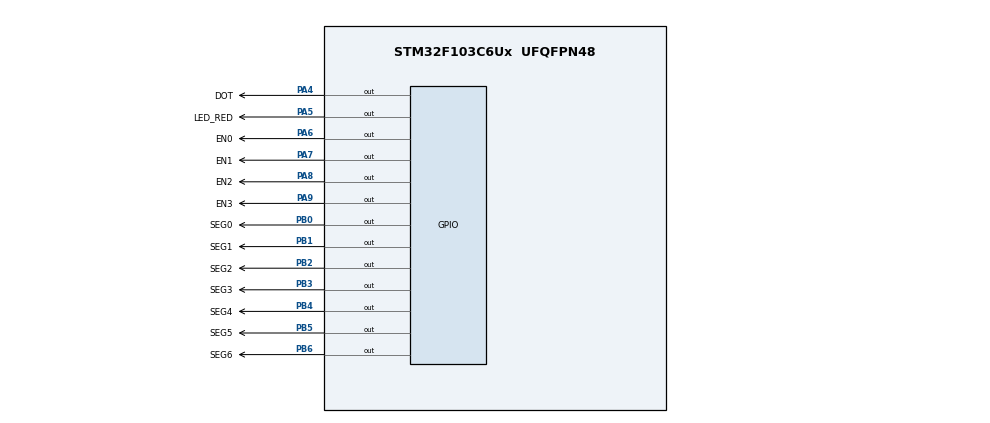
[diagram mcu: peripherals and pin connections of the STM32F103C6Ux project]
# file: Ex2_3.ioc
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Mcu.Family=STM32F1
Mcu.Name=STM32F103C6Ux
Mcu.Package=UFQFPN48
NVIC.PriorityGroup=NVIC_PRIORITYGROUP_4
NVIC.TIM2_IRQn=true\:0\:0\:false\:false\:true\:true\:true\:true
PA13.Mode=Serial_Wire
PA13.Signal=SYS_JTMS-SWDIO
PA14.Mode=Serial_Wire
PA14.Signal=SYS_JTCK-SWCLK
PA4.GPIO_Label=DOT
PA4.Signal=GPIO_Output
PA5.GPIO_Label=LED_RED
PA5.Signal=GPIO_Output
PA6.GPIO_Label=EN0
PA6.Signal=GPIO_Output
PA7.GPIO_Label=EN1
PA7.Signal=GPIO_Output
PA8.GPIO_Label=EN2
PA8.Signal=GPIO_Output
PA9.GPIO_Label=EN3
PA9.Signal=GPIO_Output
PB0.GPIO_Label=SEG0
PB0.Signal=GPIO_Output
PB1.GPIO_Label=SEG1
PB1.Signal=GPIO_Output
PB2.GPIO_Label=SEG2
PB2.Signal=GPIO_Output
PB3.GPIO_Label=SEG3
PB3.Signal=GPIO_Output
PB4.GPIO_Label=SEG4
PB4.Signal=GPIO_Output
PB5.GPIO_Label=SEG5
PB5.Signal=GPIO_Output
PB6.GPIO_Label=SEG6
PB6.Signal=GPIO_Output
ProjectManager.HeapSize=0x200
ProjectManager.StackSize=0x400
ProjectManager.TargetToolchain=STM32CubeIDE
RCC.APB1Freq_Value=8000000
RCC.APB2Freq_Value=8000000
TIM2.Period=9
TIM2.Prescaler=7999
VP_TIM2_VS_ClockSourceINT.Mode=Internal
board=custom

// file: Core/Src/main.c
/* USER CODE BEGIN Header */
/**
  ******************************************************************************
  * @file           : main.c
  * @brief          : Main program body
  ******************************************************************************
  * @attention
  *
  * Copyright (c) 2024 STMicroelectronics.
  * All rights reserved.
  *
  * This software is licensed under terms that can be found in the LICENSE file
  * in the root directory of this software component.
  * If no LICENSE file comes with this software, it is provided AS-IS.
  *
  ******************************************************************************
  */
/* USER CODE END Header */
#include <Ex2_3.h>
#include "main.h"

/* USER CODE BEGIN Includes */
#include "global.h"
/* USER CODE END Includes */

TIM_HandleTypeDef htim2;

void SystemClock_Config(void);
static void MX_GPIO_Init(void);
static void MX_TIM2_Init(void);

/* USER CODE BEGIN 0 */
int timer0_counter = 0;
int timer0_flag = 0;

int timer1_counter = 0;
int timer1_flag = 0;

int timer2_counter = 0;
int timer2_flag = 0;

int TIMER_CYCLE = 10;
void setTimer0(int duration){
	timer0_counter = duration / TIMER_CYCLE;
	timer0_flag = 0;
}
void setTimer1(int duration) {
	timer1_counter = duration / TIMER_CYCLE;
	timer1_flag = 0;
}

void setTimer2 (int duration){
	timer2_counter = duration / TIMER_CYCLE;
	timer2_flag = 0;
}
void timerRun(){
	if(timer0_counter > 0) timer0_counter--;
	if(timer0_counter == 0) timer0_flag = 1;

	if (timer1_counter > 0) timer1_counter--;
	if (timer1_counter == 0) timer1_flag = 1;

	if (timer2_counter > 0) timer2_counter--;
	if (timer2_counter == 0) timer2_flag = 1;

}
/* USER CODE END 0 */

int main(void)
{

  /* MCU Configuration--------------------------------------------------------*/

  /* Reset of all peripherals, Initializes the Flash interface and the Systick. */
  HAL_Init();

  /* Configure the system clock */
  SystemClock_Config();

  /* Initialize all configured peripherals */
  MX_GPIO_Init();
  MX_TIM2_Init();
  /* USER CODE BEGIN 2 */
  HAL_TIM_Base_Start_IT(&htim2);
  /* USER CODE END 2 */

  /* Infinite loop */
  /* USER CODE BEGIN WHILE */
int index_led = 0;;
setTimer0(500);
setTimer1(500);
  while (1)
  {
    /* USER CODE END WHILE */

    /* USER CODE BEGIN 3 */
//	  if (timer0_flag == 1) {
//		   switch (status) {
//			   case 1:
//				   HAL_GPIO_WritePin(EN0_GPIO_Port, EN0_Pin, GPIO_PIN_RESET);
//				   HAL_GPIO_WritePin(EN1_GPIO_Port, EN1_Pin, GPIO_PIN_SET);
//				   HAL_GPIO_WritePin(EN2_GPIO_Port, EN2_Pin, GPIO_PIN_SET);
//				   HAL_GPIO_WritePin(EN3_GPIO_Port, EN3_Pin, GPIO_PIN_SET);
//				   display7SEG(1);
//				   break;
//			   case 2:
//				   HAL_GPIO_WritePin(EN0_GPIO_Port, EN0_Pin, GPIO_PIN_SET);
//				   HAL_GPIO_WritePin(EN1_GPIO_Port, EN1_Pin, GPIO_PIN_RESET);
//				   HAL_GPIO_WritePin(EN2_GPIO_Port, EN2_Pin, GPIO_PIN_SET);
//				   HAL_GPIO_WritePin(EN3_GPIO_Port, EN3_Pin, GPIO_PIN_SET);
//				   display7SEG(2);
//				   break;
//			   case 3:
//				   HAL_GPIO_WritePin(EN0_GPIO_Port, EN0_Pin, GPIO_PIN_SET);
//				   HAL_GPIO_WritePin(EN1_GPIO_Port, EN1_Pin, GPIO_PIN_SET);
//				   HAL_GPIO_WritePin(EN2_GPIO_Port, EN2_Pin, GPIO_PIN_RESET);
//				   HAL_GPIO_WritePin(EN3_GPIO_Port, EN3_Pin, GPIO_PIN_SET);
//				   display7SEG(3);
//				   break;
//			   case 4:
//				   HAL_GPIO_WritePin(EN0_GPIO_Port, EN0_Pin, GPIO_PIN_SET);
//				   HAL_GPIO_WritePin(EN1_GPIO_Port, EN1_Pin, GPIO_PIN_SET);
//				   HAL_GPIO_WritePin(EN2_GPIO_Port, EN2_Pin, GPIO_PIN_SET);
//				   HAL_GPIO_WritePin(EN3_GPIO_Port, EN3_Pin, GPIO_PIN_RESET);
//				   display7SEG(0);
//				   break;
//			   default:
//				   break;
//		   }
//		   status++;
//		   if (status > 4)status = 1;
//		   setTimer0(2000);
//	  }

	  if (timer0_flag == 1) {
		  timer0_flag = 0;
		  setTimer0(250);
//		  second++;
		  if (second >= 60) {
			  second = 0;
			  minute++;
		  }
		  if (minute >= 60) {
			  minute = 0;
			  hour++;
		  }
		  if (hour >= 24) {
			  hour = 0;
		  }
		  update7SEG(index_led++);
		  if (index_led > 3) index_led = 0;
		  updateClockBuffer();
	  }

	  if (timer2_flag == 1) {
		  timer2_flag = 0;
		  setTimer2(1000);
		  second++;
	  }

	  if (timer1_flag == 1) {
		  timer1_flag = 0;
		  setTimer1(500);
		  HAL_GPIO_TogglePin(GPIOA, GPIO_PIN_4);
	  }
  }
  /* USER CODE END 3 */
}

void SystemClock_Config(void)
{
  RCC_OscInitTypeDef RCC_OscInitStruct = {0};
  RCC_ClkInitTypeDef RCC_ClkInitStruct = {0};

  /** Initializes the RCC Oscillators according to the specified parameters
  * in the RCC_OscInitTypeDef structure.
  */
  RCC_OscInitStruct.OscillatorType = RCC_OSCILLATORTYPE_HSI;
  RCC_OscInitStruct.HSIState = RCC_HSI_ON;
  RCC_OscInitStruct.HSICalibrationValue = RCC_HSICALIBRATION_DEFAULT;
  RCC_OscInitStruct.PLL.PLLState = RCC_PLL_NONE;
  if (HAL_RCC_OscConfig(&RCC_OscInitStruct) != HAL_OK)
  {
    Error_Handler();
  }

  /** Initializes the CPU, AHB and APB buses clocks
  */
  RCC_ClkInitStruct.ClockType = RCC_CLOCKTYPE_HCLK|RCC_CLOCKTYPE_SYSCLK
                              |RCC_CLOCKTYPE_PCLK1|RCC_CLOCKTYPE_PCLK2;
  RCC_ClkInitStruct.SYSCLKSource = RCC_SYSCLKSOURCE_HSI;
  RCC_ClkInitStruct.AHBCLKDivider = RCC_SYSCLK_DIV1;
  RCC_ClkInitStruct.APB1CLKDivider = RCC_HCLK_DIV1;
  RCC_ClkInitStruct.APB2CLKDivider = RCC_HCLK_DIV1;

  if (HAL_RCC_ClockConfig(&RCC_ClkInitStruct, FLASH_LATENCY_0) != HAL_OK)
  {
    Error_Handler();
  }
}

static void MX_TIM2_Init(void)
{

  TIM_ClockConfigTypeDef sClockSourceConfig = {0};
  TIM_MasterConfigTypeDef sMasterConfig = {0};

  htim2.Instance = TIM2;
  htim2.Init.Prescaler = 7999;
  htim2.Init.CounterMode = TIM_COUNTERMODE_UP;
  htim2.Init.Period = 9;
  htim2.Init.ClockDivision = TIM_CLOCKDIVISION_DIV1;
  htim2.Init.AutoReloadPreload = TIM_AUTORELOAD_PRELOAD_DISABLE;
  if (HAL_TIM_Base_Init(&htim2) != HAL_OK)
  {
    Error_Handler();
  }
  sClockSourceConfig.ClockSource = TIM_CLOCKSOURCE_INTERNAL;
  if (HAL_TIM_ConfigClockSource(&htim2, &sClockSourceConfig) != HAL_OK)
  {
    Error_Handler();
  }
  sMasterConfig.MasterOutputTrigger = TIM_TRGO_RESET;
  sMasterConfig.MasterSlaveMode = TIM_MASTERSLAVEMODE_DISABLE;
  if (HAL_TIMEx_MasterConfigSynchronization(&htim2, &sMasterConfig) != HAL_OK)
  {
    Error_Handler();
  }

}

static void MX_GPIO_Init(void)
{
  GPIO_InitTypeDef GPIO_InitStruct = {0};

  /* GPIO Ports Clock Enable */
  __HAL_RCC_GPIOA_CLK_ENABLE();
  __HAL_RCC_GPIOB_CLK_ENABLE();

  /*Configure GPIO pin Output Level */
  HAL_GPIO_WritePin(GPIOA, DOT_Pin|LED_RED_Pin|EN0_Pin|EN1_Pin
                          |EN2_Pin|EN3_Pin, GPIO_PIN_RESET);

  /*Configure GPIO pin Output Level */
  HAL_GPIO_WritePin(GPIOB, SEG0_Pin|SEG1_Pin|SEG2_Pin|SEG3_Pin
                          |SEG4_Pin|SEG5_Pin|SEG6_Pin, GPIO_PIN_RESET);

  /*Configure GPIO pins : DOT_Pin LED_RED_Pin EN0_Pin EN1_Pin
                           EN2_Pin EN3_Pin */
  GPIO_InitStruct.Pin = DOT_Pin|LED_RED_Pin|EN0_Pin|EN1_Pin
                          |EN2_Pin|EN3_Pin;
  GPIO_InitStruct.Mode = GPIO_MODE_OUTPUT_PP;
  GPIO_InitStruct.Pull = GPIO_NOPULL;
  GPIO_InitStruct.Speed = GPIO_SPEED_FREQ_LOW;
  HAL_GPIO_Init(GPIOA, &GPIO_InitStruct);

  /*Configure GPIO pins : SEG0_Pin SEG1_Pin SEG2_Pin SEG3_Pin
                           SEG4_Pin SEG5_Pin SEG6_Pin */
  GPIO_InitStruct.Pin = SEG0_Pin|SEG1_Pin|SEG2_Pin|SEG3_Pin
                          |SEG4_Pin|SEG5_Pin|SEG6_Pin;
  GPIO_InitStruct.Mode = GPIO_MODE_OUTPUT_PP;
  GPIO_InitStruct.Pull = GPIO_NOPULL;
  GPIO_InitStruct.Speed = GPIO_SPEED_FREQ_LOW;
  HAL_GPIO_Init(GPIOB, &GPIO_InitStruct);

}

/* USER CODE BEGIN 4 */
void HAL_TIM_PeriodElapsedCallback ( TIM_HandleTypeDef * htim ){
	timerRun();
	// Other code
}
/* USER CODE END 4 */

void Error_Handler(void)
{
  __disable_irq();
  while (1)
  {
  }
}
